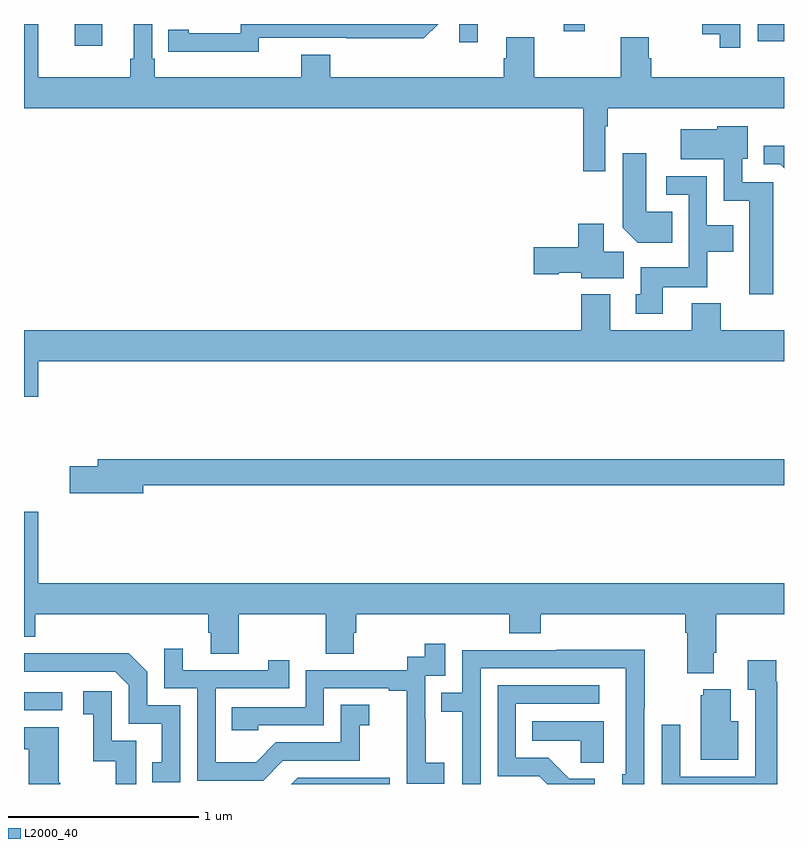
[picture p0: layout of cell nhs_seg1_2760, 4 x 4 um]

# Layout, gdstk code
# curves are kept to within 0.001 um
import gdstk
lib = gdstk.Library(unit=1e-6, precision=1e-09)
def R(c, l, rs):  # rectangles x0, y0, x1, y1
    for r in rs: c.add(gdstk.rectangle(r[:2], r[2:], *l))
def P(c, l, *ps):  # polygons
    for p in ps: c.add(gdstk.Polygon(p, *l))
L2000_40 = (2000, 40)

nhs_seg1_2760 = lib.new_cell('nhs_seg1_2760')
R(nhs_seg1_2760, L2000_40, [(261,524.586,261.202,524.682), (261.266,528.084,261.412,528.199), (263.292,528.102,263.389,528.199), (264.861,528.108,265,528.199), (263.84,528.162,263.951,528.199)])
P(nhs_seg1_2760, L2000_40, [(264.06,527.66),(264.073,527.66),(264.073,527.756),(265,527.756),(265,527.92),(264.302,527.92),(264.302,528.018),(264.289,528.018),(264.289,528.128),(264.142,528.128),(264.142,527.92),(263.685,527.92),(263.685,528.128),(263.537,528.128),(263.537,528.018),(263.525,528.018),(263.525,527.92),(262.613,527.92),(262.613,528.037),(262.46,528.037),(262.46,527.92),(261.689,527.92),(261.689,528.016),(261.675,528.016),(261.675,528.199),(261.578,528.199),(261.578,528.016),(261.559,528.016),(261.559,527.92),(261.076,527.92),(261.076,528.199),(261,528.199),(261,527.756),(263.944,527.756),(263.944,527.424),(264.06,527.424)],
  [(262.236,528.126),(263.104,528.125),(263.179,528.199),(262.14,528.199),(262.14,528.15),(261.868,528.15),(261.868,528.17),(261.76,528.17),(261.76,528.054),(262.236,528.053)],
  [(264.771,528.199),(264.57,528.199),(264.57,528.145),(264.663,528.145),(264.663,528.075),(264.771,528.075)],
  [(264.943,527.367),(264.78,527.367),(264.78,527.49),(264.808,527.49),(264.808,527.662),(264.648,527.662),(264.648,527.644),(264.456,527.644),(264.456,527.486),(264.684,527.486),(264.684,527.27),(264.818,527.27),(264.818,526.776),(264.943,526.776)],
  [(265,527.557),(264.893,527.557),(264.893,527.46),(264.981,527.46),(265,527.441)],
  [(264.413,527.212),(264.274,527.212),(264.274,527.518),(264.152,527.518),(264.152,527.126),(264.23,527.048),(264.413,527.048)],
  [(264.361,526.814),(264.597,526.814),(264.597,527),(264.733,527),(264.733,527.14),(264.594,527.14),(264.594,527.397),(264.381,527.397),(264.381,527.301),(264.498,527.301),(264.498,526.918),(264.245,526.918),(264.245,526.776),(264.221,526.776),(264.221,526.674),(264.361,526.674)],
  [(264.157,527),(264.052,527),(264.052,527.149),(263.918,527.149),(263.918,527.024),(263.682,527.024),(263.682,526.882),(263.814,526.882),(263.814,526.889),(263.934,526.889),(263.934,526.862),(264.157,526.862)],
  [(261.076,526.424),(265,526.424),(265,526.588),(264.668,526.588),(264.668,526.729),(264.515,526.729),(264.515,526.588),(264.085,526.588),(264.085,526.777),(263.933,526.777),(263.933,526.588),(261,526.588),(261,526.236),(261.076,526.236)],
  [(261.628,525.772),(265,525.772),(265,525.908),(261.389,525.908),(261.389,525.872),(261.24,525.872),(261.24,525.73),(261.628,525.73)],
  [(264.631,524.89),(264.644,524.89),(264.644,525.092),(265,525.092),(265,525.256),(261.076,525.256),(261.076,525.631),(261,525.631),(261,524.975),(261.059,524.975),(261.059,525.092),(261.971,525.092),(261.971,524.994),(261.983,524.994),(261.983,524.884),(262.131,524.884),(262.131,525.092),(262.588,525.092),(262.588,524.884),(262.735,524.884),(262.735,524.994),(262.748,524.994),(262.748,525.092),(263.555,525.092),(263.555,524.993),(263.72,524.993),(263.72,525.092),(264.479,525.092),(264.479,524.996),(264.491,524.996),(264.491,524.783),(264.631,524.783)],
  [(263.212,524.311),(263.114,524.311),(263.114,524.54),(263.112,524.54),(263.112,524.769),(263.217,524.769),(263.217,524.938),(263.109,524.938),(263.109,524.868),(263.016,524.868),(263.016,524.799),(262.482,524.799),(262.482,524.604),(262.093,524.604),(262.093,524.481),(262.233,524.481),(262.233,524.508),(262.578,524.508),(262.578,524.703),(262.919,524.703),(262.919,524.691),(263.015,524.691),(263.015,524.407),(263.014,524.407),(263.014,524.201),(263.212,524.201)],
  [(262.363,524.322),(262.767,524.322),(262.767,524.507),(262.816,524.507),(262.816,524.617),(262.668,524.617),(262.668,524.418),(262.326,524.418),(262.222,524.314),(262.008,524.314),(262.008,524.703),(262.397,524.703),(262.397,524.851),(262.286,524.851),(262.286,524.799),(261.835,524.799),(261.835,524.911),(261.738,524.911),(261.738,524.703),(261.912,524.703),(261.912,524.217),(262.258,524.217)],
  [(263.403,524.808),(264.168,524.808),(264.168,524.25),(264.149,524.25),(264.149,524.199),(264.264,524.199),(264.264,524.599),(264.267,524.599),(264.267,524.906),(263.803,524.906),(263.803,524.904),(263.307,524.904),(263.307,524.679),(263.197,524.679),(263.197,524.578),(263.307,524.578),(263.307,524.199),(263.403,524.199)],
  [(261.822,524.613),(261.648,524.613),(261.648,524.79),(261.55,524.888),(261.142,524.888),(261.142,524.886),(261,524.886),(261,524.79),(261.48,524.79),(261.552,524.718),(261.552,524.517),(261.725,524.517),(261.725,524.313),(261.676,524.313),(261.676,524.208),(261.822,524.208)],
  [(264.965,524.738),(264.958,524.738),(264.958,524.851),(264.809,524.851),(264.809,524.695),(264.849,524.695),(264.849,524.238),(264.453,524.238),(264.453,524.512),(264.357,524.512),(264.357,524.199),(264.965,524.199)],
  [(264.004,524.226),(263.869,524.226),(263.758,524.337),(263.589,524.337),(263.589,524.622),(264.028,524.622),(264.028,524.718),(263.493,524.718),(263.493,524.241),(263.712,524.241),(263.754,524.199),(264.004,524.199)],
  [(264.76,524.53),(264.721,524.53),(264.721,524.698),(264.575,524.698),(264.575,524.667),(264.563,524.667),(264.563,524.327),(264.76,524.327)],
  [(261.591,524.427),(261.462,524.427),(261.462,524.686),(261.312,524.686),(261.312,524.565),(261.365,524.565),(261.365,524.319),(261.483,524.319),(261.483,524.199),(261.591,524.199)],
  [(264.052,524.53),(263.674,524.53),(263.674,524.426),(263.931,524.426),(263.931,524.311),(264.052,524.311)],
  [(261.192,524.206),(261.184,524.206),(261.184,524.497),(261,524.497),(261,524.383),(261.026,524.383),(261.026,524.199),(261.192,524.199)],
  [(262.926,524.232),(262.44,524.232),(262.407,524.199),(262.926,524.199)])

lib.write_gds('nhs_seg1_2760.gds')
